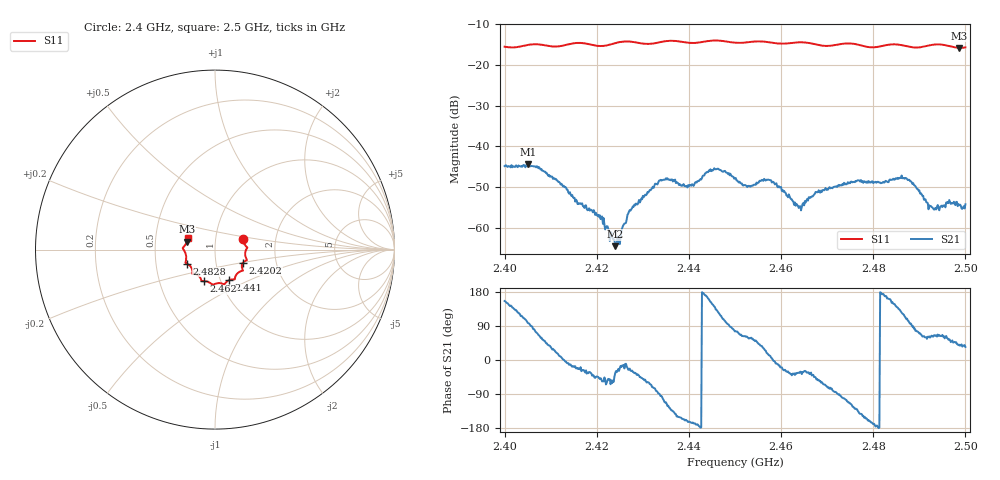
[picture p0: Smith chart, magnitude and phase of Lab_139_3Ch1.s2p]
# Hz S RI R 50
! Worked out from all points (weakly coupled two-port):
!   601 points, 2.4 GHz to 2.5 GHz, reference 50 ohm
!   highest |S21| = -44.42 dB at 2.4052 GHz (marker M1); lowest = -64.5 dB at 2.424 GHz (marker M2)
!   lowest |S11| = -15.8 dB at 2.4987 GHz (marker M3), VSWR 1.39, Z = 36.3 + j3.26 ohm
!   |S11| at or under -10 dB: start of sweep to end of sweep
!   S12 and S22 are empty: the file has one direction only
!   S11 on the Smith chart (normalised r, x): 2.4 GHz: 1.36, +0.17; 2.4202 GHz: 1.35, -0.20; 2.441 GHz: 1.10, -0.39; 2.462 GHz: 0.83, -0.30; 2.4828 GHz: 0.72, -0.12; 2.5 GHz: 0.73, +0.09
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2.4e9  0.157 0.0609  -0.00523 0.00236  0 0  0 0
2.405167e9  0.1769 0.0147  -0.000731 0.00597  0 0  0 0
2.416667e9  0.1774 -0.0593  0.0017 -0.000959  0 0  0 0
2.420167e9  0.1568 -0.072  0.001 -0.000975  0 0  0 0
2.424e9  0.1521 -0.107  0.000488 -0.00034  0 0  0 0
2.427333e9  0.1545 -0.1177  0.00144 -0.000772  0 0  0 0
2.433333e9  0.1128 -0.1521  0.00013 -0.00361  0 0  0 0
2.441e9  0.077 -0.1706  -0.0032 -0.000721  0 0  0 0
2.445833e9  0.0516 -0.1942  -0.00358 0.00384  0 0  0 0
2.45e9  0.0271 -0.1867  0.00103 0.00397  0 0  0 0
2.453e9  -0.000448 -0.1915  0.00181 0.00275  0 0  0 0
2.457333e9  -0.021 -0.19  0.0038 0.000856  0 0  0 0
2.462e9  -0.0615 -0.176  0.00187 -0.00138  0 0  0 0
2.464e9  -0.073 -0.1762  0.00151 -0.00103  0 0  0 0
2.466667e9  -0.0773 -0.1672  0.00184 -0.00159  0 0  0 0
2.4765e9  -0.1261 -0.1274  -0.00246 -0.0029  0 0  0 0
2.482833e9  -0.1581 -0.0776  -0.00366 0.00075  0 0  0 0
2.483333e9  -0.1609 -0.0763  -0.00346 0.00116  0 0  0 0
2.4875e9  -0.1607 -0.0543  -0.000921 0.00375  0 0  0 0
2.493167e9  -0.1785 0.00436  0.000712 0.00152  0 0  0 0
2.498667e9  -0.157 0.0437  0.00144 0.00122  0 0  0 0
2.5e9  -0.1532 0.0621  0.00161 0.0011  0 0  0 0
